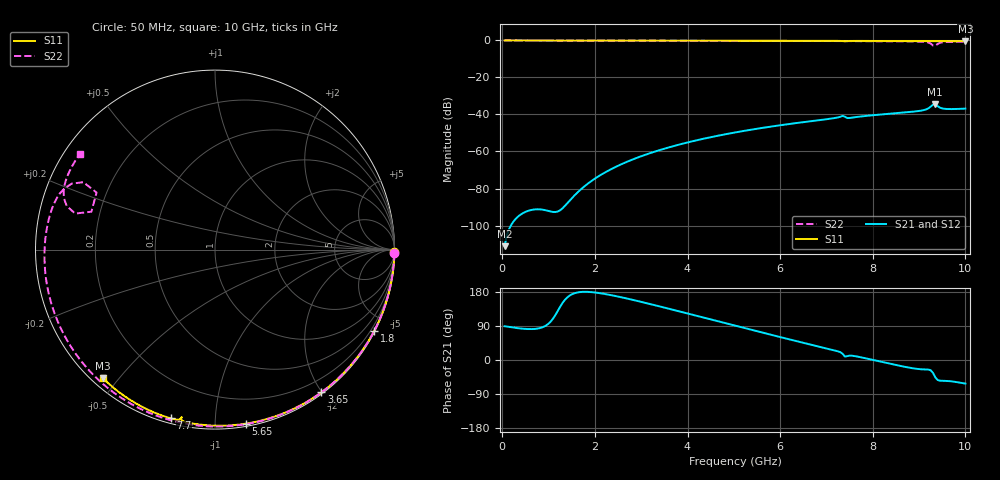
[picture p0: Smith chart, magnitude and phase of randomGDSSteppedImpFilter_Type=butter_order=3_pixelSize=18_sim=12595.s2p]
! freq	dB(S11)	phase(S11)	dB(S12)	phase(S12)
!  dB(S21)	phase(S21)	dB(S22)	phase(S22)
!S-par simulation data
#  GHz  S  DB  R 50
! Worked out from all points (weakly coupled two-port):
!   200 points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, 50 MHz to 10 GHz, reference 50 ohm
!   highest |S21| = -34.59 dB at 9.35 GHz (marker M1); lowest = -111.2 dB at 50 MHz (marker M2)
!   lowest |S11| = -0.4 dB at 10 GHz (marker M3), VSWR 39.02, Z = 1.54 - j22.7 ohm
!   |S11| at or under -10 dB: nowhere
!   |S22| runs from -2.9 to 0.0 dB; largest |S21 - S12| = 0
!   S11 on the Smith chart (normalised r, x): 50 MHz: open; 1.8 GHz: 0.04, -4.18; 3.65 GHz: 0.02, -1.99; 5.65 GHz: 0.02, -1.19; 7.7 GHz: 0.02, -0.77; 10 GHz: 0.03, -0.45
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0.05  -0.00 -0.8  -111.16 89.1  -111.16 89.1  -0.00 -1.2
0.85  -0.02 -12.8  -91.37 85.6  -91.37 85.6  -0.03 -20.3
1.75  -0.03 -26.2  -79.31 179.9  -79.31 179.9  -0.05 -41.4
1.8  -0.03 -26.9  -78.29 179.9  -78.29 179.9  -0.05 -42.5
2.45  -0.05 -36.4  -68.30 168.7  -68.30 168.7  -0.07 -57.2
3.4  -0.07 -49.8  -59.22 141.4  -59.22 141.4  -0.10 -78.0
3.65  -0.07 -53.3  -57.40 133.7  -57.40 133.7  -0.11 -83.3
5.05  -0.11 -72.1  -49.60 89.9  -49.60 89.9  -0.17 -112.1
5.65  -0.13 -79.9  -47.11 71.3  -47.11 71.3  -0.21 -124.0
6.7  -0.18 -93.0  -43.51 39.3  -43.51 39.3  -0.28 -144.9
7.35  -0.34 -101.6  -40.79 16.3  -40.79 16.3  -0.34 -158.1
7.45  -0.33 -101.3  -41.94 10.1  -41.94 10.1  -0.35 -160.2
7.7  -0.25 -104.7  -41.19 8.3  -41.19 8.3  -0.37 -165.4
8.35  -0.29 -112.4  -39.62 -9.3  -39.62 -9.3  -0.45 -179.6
8.95  -0.34 -119.3  -38.26 -23.3  -38.26 -23.3  -0.58 165.2
9.2  -0.36 -122.2  -36.69 -25.3  -36.69 -25.3  -1.12 155.3
9.25  -0.37 -122.7  -35.77 -27.1  -35.77 -27.1  -1.68 152.9
9.3  -0.37 -123.3  -34.70 -33.9  -34.70 -33.9  -2.71 154.3
9.35  -0.38 -123.9  -34.59 -45.7  -34.59 -45.7  -2.85 163.0
9.4  -0.38 -124.4  -35.51 -52.7  -35.51 -52.7  -1.89 165.5
9.5  -0.39 -125.6  -36.72 -54.8  -36.72 -54.8  -1.02 161.2
10  -0.45 -131.2  -36.83 -62.3  -36.83 -62.3  -0.70 144.8
